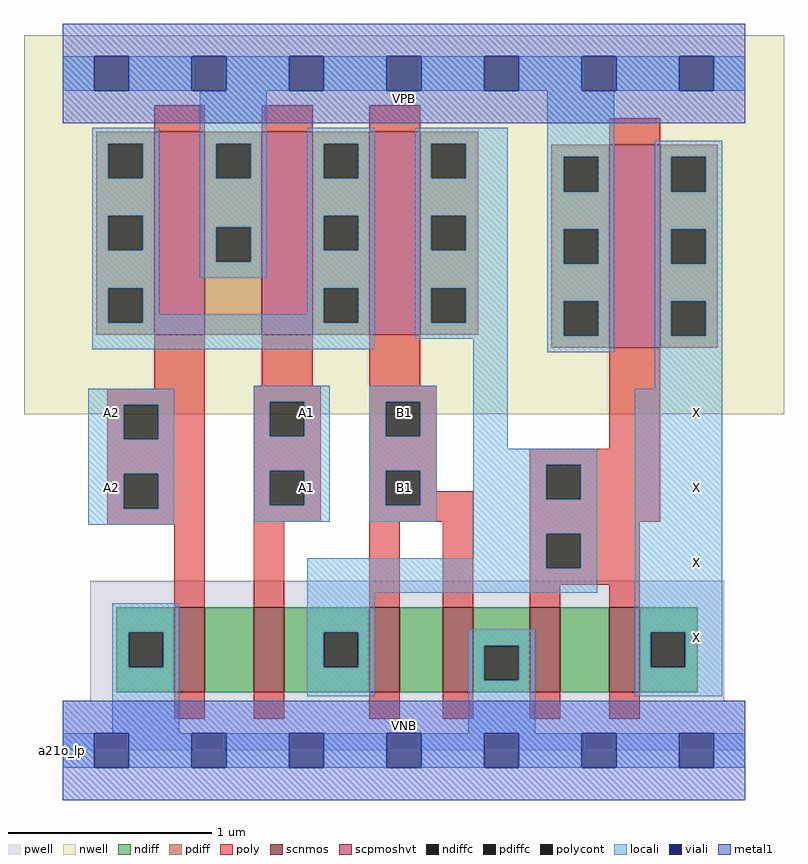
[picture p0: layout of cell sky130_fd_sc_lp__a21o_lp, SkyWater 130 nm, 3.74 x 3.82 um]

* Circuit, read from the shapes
.subckt sky130_fd_sc_lp__a21o_lp A1 A2 B1 VGND VNB VPB VPWR X
XM1 n1 A2 VGND VNB sky130_fd_pr__nfet_01v8 w=0.42 l=0.15
XM2 n2 A1 n1 VNB sky130_fd_pr__nfet_01v8 w=0.42 l=0.15
XM3 n3 B1 n2 VNB sky130_fd_pr__nfet_01v8 w=0.42 l=0.15
XM4 VGND B1 n3 VNB sky130_fd_pr__nfet_01v8 w=0.42 l=0.15
XM5 n4 n2 VGND VNB sky130_fd_pr__nfet_01v8 w=0.42 l=0.15
XM6 X n2 n4 VNB sky130_fd_pr__nfet_01v8 w=0.42 l=0.15
XM7 VPWR A2 n5 VPB sky130_fd_pr__pfet_01v8_hvt w=1 l=0.25
XM8 n5 A1 VPWR VPB sky130_fd_pr__pfet_01v8_hvt w=1 l=0.25
XM9 n2 B1 n5 VPB sky130_fd_pr__pfet_01v8_hvt w=1 l=0.25
XM10 X n2 VPWR VPB sky130_fd_pr__pfet_01v8_hvt w=1 l=0.25
.ends

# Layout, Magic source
magic
tech sky130A
magscale 1 2
<< nwell >>
rect -38 331 710 704
<< pwell >>
rect 27 49 651 167
rect 0 0 672 49
<< scnmos >>
rect 110 57 140 141
rect 188 57 218 141
rect 302 57 332 141
rect 374 57 404 141
rect 460 57 490 141
rect 538 57 568 141
<< scpmoshvt >>
rect 90 409 140 609
rect 196 409 246 609
rect 302 409 352 609
rect 538 396 588 596
<< ndiff >>
rect 53 116 110 141
rect 53 82 65 116
rect 99 82 110 116
rect 53 57 110 82
rect 140 57 188 141
rect 218 116 302 141
rect 218 82 257 116
rect 291 82 302 116
rect 218 57 302 82
rect 332 57 374 141
rect 404 103 460 141
rect 404 69 415 103
rect 449 69 460 103
rect 404 57 460 69
rect 490 57 538 141
rect 568 116 625 141
rect 568 82 579 116
rect 613 82 625 116
rect 568 57 625 82
<< pdiff >>
rect 33 597 90 609
rect 33 563 45 597
rect 79 563 90 597
rect 33 526 90 563
rect 33 492 45 526
rect 79 492 90 526
rect 33 455 90 492
rect 33 421 45 455
rect 79 421 90 455
rect 33 409 90 421
rect 140 597 196 609
rect 140 563 151 597
rect 185 563 196 597
rect 140 515 196 563
rect 140 481 151 515
rect 185 481 196 515
rect 140 409 196 481
rect 246 597 302 609
rect 246 563 257 597
rect 291 563 302 597
rect 246 526 302 563
rect 246 492 257 526
rect 291 492 302 526
rect 246 455 302 492
rect 246 421 257 455
rect 291 421 302 455
rect 246 409 302 421
rect 352 597 409 609
rect 352 563 363 597
rect 397 563 409 597
rect 352 526 409 563
rect 352 492 363 526
rect 397 492 409 526
rect 352 455 409 492
rect 352 421 363 455
rect 397 421 409 455
rect 352 409 409 421
rect 481 584 538 596
rect 481 550 493 584
rect 527 550 538 584
rect 481 513 538 550
rect 481 479 493 513
rect 527 479 538 513
rect 481 442 538 479
rect 481 408 493 442
rect 527 408 538 442
rect 481 396 538 408
rect 588 584 645 596
rect 588 550 599 584
rect 633 550 645 584
rect 588 513 645 550
rect 588 479 599 513
rect 633 479 645 513
rect 588 442 645 479
rect 588 408 599 442
rect 633 408 645 442
rect 588 396 645 408
<< ndiffc >>
rect 65 82 99 116
rect 257 82 291 116
rect 415 69 449 103
rect 579 82 613 116
<< pdiffc >>
rect 45 563 79 597
rect 45 492 79 526
rect 45 421 79 455
rect 151 563 185 597
rect 151 481 185 515
rect 257 563 291 597
rect 257 492 291 526
rect 257 421 291 455
rect 363 563 397 597
rect 363 492 397 526
rect 363 421 397 455
rect 493 550 527 584
rect 493 479 527 513
rect 493 408 527 442
rect 599 550 633 584
rect 599 479 633 513
rect 599 408 633 442
<< poly >>
rect 90 609 140 635
rect 196 609 246 635
rect 302 609 352 635
rect 538 596 588 622
rect 90 356 140 409
rect 196 359 246 409
rect 302 359 352 409
rect 44 340 140 356
rect 44 306 60 340
rect 94 306 140 340
rect 44 272 140 306
rect 44 238 60 272
rect 94 238 140 272
rect 44 222 140 238
rect 110 141 140 222
rect 188 343 254 359
rect 188 309 204 343
rect 238 309 254 343
rect 188 275 254 309
rect 188 241 204 275
rect 238 241 254 275
rect 188 225 254 241
rect 302 343 368 359
rect 302 309 318 343
rect 352 309 368 343
rect 302 275 368 309
rect 538 297 588 396
rect 302 241 318 275
rect 352 255 368 275
rect 460 281 588 297
rect 352 241 404 255
rect 302 225 404 241
rect 188 141 218 225
rect 302 141 332 225
rect 374 141 404 225
rect 460 247 476 281
rect 510 247 588 281
rect 460 225 588 247
rect 460 213 568 225
rect 460 179 476 213
rect 510 179 568 213
rect 460 163 568 179
rect 460 141 490 163
rect 538 141 568 163
rect 110 31 140 57
rect 188 31 218 57
rect 302 31 332 57
rect 374 31 404 57
rect 460 31 490 57
rect 538 31 568 57
<< polycont >>
rect 60 306 94 340
rect 60 238 94 272
rect 204 309 238 343
rect 204 241 238 275
rect 318 309 352 343
rect 318 241 352 275
rect 476 247 510 281
rect 476 179 510 213
<< locali >>
rect 0 649 31 683
rect 65 649 127 683
rect 161 649 223 683
rect 257 649 319 683
rect 353 649 415 683
rect 449 649 511 683
rect 545 649 607 683
rect 641 649 672 683
rect 29 597 95 613
rect 29 563 45 597
rect 79 563 95 597
rect 29 526 95 563
rect 29 492 45 526
rect 79 492 95 526
rect 29 455 95 492
rect 135 597 201 649
rect 135 563 151 597
rect 185 563 201 597
rect 135 515 201 563
rect 135 481 151 515
rect 185 481 201 515
rect 135 465 201 481
rect 241 597 307 613
rect 241 563 257 597
rect 291 563 307 597
rect 241 526 307 563
rect 241 492 257 526
rect 291 492 307 526
rect 29 421 45 455
rect 79 429 95 455
rect 241 455 307 492
rect 241 429 257 455
rect 79 421 257 429
rect 291 421 307 455
rect 29 395 307 421
rect 347 597 438 613
rect 347 563 363 597
rect 397 563 438 597
rect 347 526 438 563
rect 347 492 363 526
rect 397 492 438 526
rect 347 455 438 492
rect 347 421 363 455
rect 397 421 438 455
rect 347 405 438 421
rect 25 340 110 356
rect 25 306 60 340
rect 94 306 110 340
rect 25 272 110 306
rect 25 238 60 272
rect 94 238 110 272
rect 25 222 110 238
rect 188 343 263 359
rect 188 309 204 343
rect 238 309 263 343
rect 188 275 263 309
rect 188 241 204 275
rect 238 241 263 275
rect 188 225 263 241
rect 302 343 368 359
rect 302 309 318 343
rect 352 309 368 343
rect 302 275 368 309
rect 302 241 318 275
rect 352 241 368 275
rect 302 225 368 241
rect 404 297 438 405
rect 477 584 543 649
rect 477 550 493 584
rect 527 550 543 584
rect 477 513 543 550
rect 477 479 493 513
rect 527 479 543 513
rect 477 442 543 479
rect 477 408 493 442
rect 527 408 543 442
rect 477 392 543 408
rect 583 584 649 600
rect 583 550 599 584
rect 633 550 649 584
rect 583 513 649 550
rect 583 479 599 513
rect 633 479 649 513
rect 583 442 649 479
rect 583 408 599 442
rect 633 408 649 442
rect 583 356 649 408
rect 404 281 526 297
rect 404 247 476 281
rect 510 247 526 281
rect 404 213 526 247
rect 404 189 476 213
rect 241 179 476 189
rect 510 179 526 213
rect 241 155 526 179
rect 49 116 115 145
rect 49 82 65 116
rect 99 82 115 116
rect 49 17 115 82
rect 241 116 307 155
rect 241 82 257 116
rect 291 82 307 116
rect 241 53 307 82
rect 399 103 465 119
rect 399 69 415 103
rect 449 69 465 103
rect 399 17 465 69
rect 563 116 649 356
rect 563 82 579 116
rect 613 82 649 116
rect 563 53 649 82
rect 0 -17 31 17
rect 65 -17 127 17
rect 161 -17 223 17
rect 257 -17 319 17
rect 353 -17 415 17
rect 449 -17 511 17
rect 545 -17 607 17
rect 641 -17 672 17
<< viali >>
rect 31 649 65 683
rect 127 649 161 683
rect 223 649 257 683
rect 319 649 353 683
rect 415 649 449 683
rect 511 649 545 683
rect 607 649 641 683
rect 31 -17 65 17
rect 127 -17 161 17
rect 223 -17 257 17
rect 319 -17 353 17
rect 415 -17 449 17
rect 511 -17 545 17
rect 607 -17 641 17
<< metal1 >>
rect 0 683 672 715
rect 0 649 31 683
rect 65 649 127 683
rect 161 649 223 683
rect 257 649 319 683
rect 353 649 415 683
rect 449 649 511 683
rect 545 649 607 683
rect 641 649 672 683
rect 0 617 672 649
rect 0 17 672 49
rect 0 -17 31 17
rect 65 -17 127 17
rect 161 -17 223 17
rect 257 -17 319 17
rect 353 -17 415 17
rect 449 -17 511 17
rect 545 -17 607 17
rect 641 -17 672 17
rect 0 -49 672 -17
<< labels >>
flabel pwell s 0 0 672 49 0 FreeSans 200 0 0 0 VNB
port 5 nsew ground bidirectional
flabel nwell s 0 617 672 666 0 FreeSans 200 0 0 0 VPB
port 6 nsew power bidirectional
rlabel comment s 0 0 0 0 4 a21o_lp
flabel metal1 s 0 617 672 666 0 FreeSans 340 0 0 0 VPWR
port 7 nsew power bidirectional
flabel metal1 s 0 0 672 49 0 FreeSans 340 0 0 0 VGND
port 4 nsew ground bidirectional
flabel locali s 319 242 353 276 0 FreeSans 340 0 0 0 B1
port 3 nsew signal input
flabel locali s 319 316 353 350 0 FreeSans 340 0 0 0 B1
port 3 nsew signal input
flabel locali s 31 242 65 276 0 FreeSans 340 0 0 0 A2
port 2 nsew signal input
flabel locali s 31 316 65 350 0 FreeSans 340 0 0 0 A2
port 2 nsew signal input
flabel locali s 223 242 257 276 0 FreeSans 340 0 0 0 A1
port 1 nsew signal input
flabel locali s 223 316 257 350 0 FreeSans 340 0 0 0 A1
port 1 nsew signal input
flabel locali s 607 94 641 128 0 FreeSans 340 0 0 0 X
port 8 nsew signal output
flabel locali s 607 168 641 202 0 FreeSans 340 0 0 0 X
port 8 nsew signal output
flabel locali s 607 242 641 276 0 FreeSans 340 0 0 0 X
port 8 nsew signal output
flabel locali s 607 316 641 350 0 FreeSans 340 0 0 0 X
port 8 nsew signal output
<< properties >>
string LEFsite unit
string LEFclass CORE
string FIXED_BBOX 0 0 672 666
string GDS_FILE $PDKPATH/libs.ref/sky130_fd_sc_lp/gds/sky130_fd_sc_lp.gds
string LEFsymmetry X Y R90
string GDS_END 2597026
string GDS_START 2590312
<< end >>
